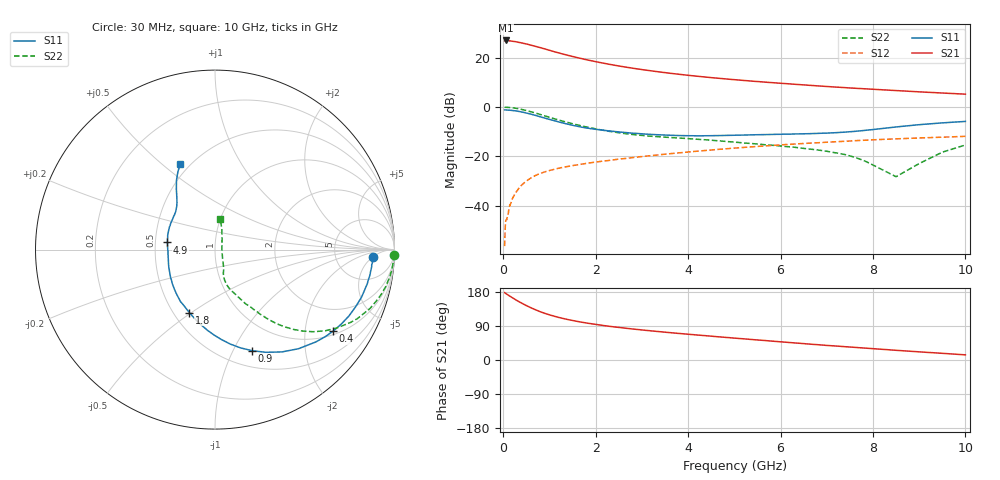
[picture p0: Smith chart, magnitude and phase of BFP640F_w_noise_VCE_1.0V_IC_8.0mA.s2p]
! Infineon Technologies  Discrete & RF Semiconductors
! BFP640F
! VCE =  1.0 V,  IC =  8.0 mA
! Common Emitter S-Parameters:  Apr 2013
# GHz  S  MA  R  50
!  f  S11  S21  S12  S22
! GHz  MAG  ANG  MAG  ANG  MAG  ANG  MAG  ANG
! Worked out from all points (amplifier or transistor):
!   99 points, 30 MHz to 10 GHz, reference 50 ohm
!   highest |S21| = 27.1 dB at 50 MHz (marker M1)
!   |S21| within 3 dB of that: start of sweep to 817.2 MHz
!   unconditionally stable (mu >= 1): 3.649 GHz to end of sweep
!   at 350 MHz: K = 0.15, MSG = 29.5 dB, |S12| = -32.7 dB
!   at 3.5 GHz: K = 0.99, MSG = 16.6 dB, |S12| = -19.1 dB
!   at 10 GHz: K = 1.08, MAG = 6.9 dB, |S12| = -11.8 dB
!   lowest NFmin = 0.59 dB at 450 MHz
!   S11 on the Smith chart (normalised r, x): 30 MHz: 14, -5; 400 MHz: 1.12, -2.81; 900 MHz: 0.68, -1.19; 1.8 GHz: 0.60, -0.49; 4.9 GHz: 0.58, +0.05; 10 GHz: 0.45, +0.58
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0.03  0.8817 -2.7  22.35 177.7  0.0015 82.5  0.996 -1.7
0.04  0.8813 -3.6  22.36 176.9  0.0029 90.2  0.9956 -2.3
0.05  0.8806 -4.5  22.73 176.2  0.0047 99.1  0.9969 -2.9
0.11  0.8736 -9.9  22.55 171.1  0.0069 81.0  0.9915 -6.7
0.25  0.8456 -22.2  21.59 160.4  0.0171 77.7  0.9586 -15.2
0.4  0.7999 -34.6  20.25 150.0  0.0263 74.1  0.9008 -23.4
0.5  0.7617 -42.5  19.3 143.6  0.0316 70.4  0.8568 -28.3
0.6  0.722 -49.9  18.26 137.8  0.0365 67.7  0.8078 -32.7
0.8  0.6388 -63.6  16.26 127.5  0.0451 62.4  0.7119 -40.0
0.9  0.6004 -69.8  15.3 123.1  0.0485 60.6  0.6666 -42.9
1.1  0.5339 -80.7  13.48 115.7  0.0546 57.5  0.5853 -47.6
1.3  0.4762 -90.6  11.97 109.5  0.0602 55.8  0.5166 -51.2
1.5  0.4298 -99.7  10.73 104.3  0.0651 54.3  0.4621 -53.8
1.7  0.393 -108.3  9.703 99.7  0.0697 53.6  0.416 -56.0
1.8  0.3789 -112.1  9.233 97.7  0.0721 53.1  0.3972 -57.1
2.4  0.3215 -133.3  7.156 87.4  0.0856 51.4  0.3128 -62.6
3.4  0.2744 -159.9  5.181 74.6  0.1085 49.1  0.2497 -68.0
4.9  0.268 171.4  3.697 58.8  0.1449 44.1  0.1988 -71.9
5.1  0.2706 168.0  3.565 56.8  0.1497 43.3  0.1919 -72.2
6.7  0.2915 143.9  2.758 41.3  0.1874 35.6  0.1388 -70.4
8.5  0.3971 122.8  2.18 25.6  0.2277 25.9  0.0387 2.2
10  0.5148 112.0  1.842 13.6  0.2557 17.9  0.1708 80.1
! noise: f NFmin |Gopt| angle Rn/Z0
0.45  0.59  0.27  8  0.06
0.9  0.59  0.26  20  0.07
1.5  0.62  0.25  28  0.08
1.9  0.63  0.23  41  0.09
2.4  0.67  0.2  55  0.09
3.5  0.76  0.17  82  0.11
5.5  0.97  0.15  168  0.14
10  1.57  0.41  -101  0.33
